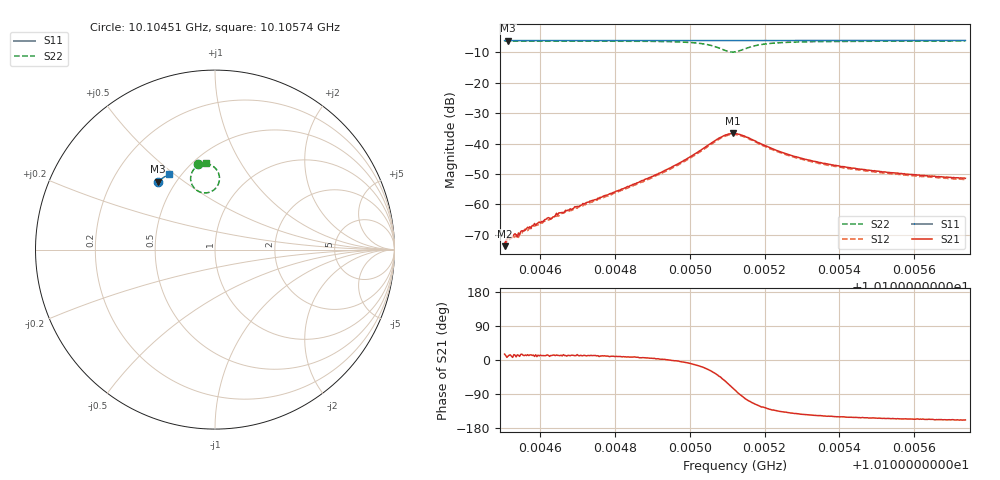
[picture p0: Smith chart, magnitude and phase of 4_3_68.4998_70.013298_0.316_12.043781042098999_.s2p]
#  HZ  S  RI  R  50.00
! Rohde & Schwarz Vector Network Analyzer
! Rohde-Schwarz,ZNB20-2Port,1311601062101988,3.16
! Created: UTC 3/20/2024, 4:48:45 PM
! freq[Hz]  re:S11  im:S11  re:S21  im:S21  re:S12  im:S12  re:S22  im:S22
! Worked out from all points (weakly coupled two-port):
!   401 points, 10.10451 GHz to 10.10574 GHz, reference 50 ohm
!   highest |S21| = -36.68 dB at 10.10511 GHz (marker M1); lowest = -73.7 dB at 10.10451 GHz (marker M2)
!   lowest |S11| = -6.1 dB at 10.10451 GHz (marker M3), VSWR 2.94, Z = 20.2 + j20.2 ohm
!   |S11| at or under -10 dB: nowhere
!   |S22| runs from -9.9 to -6.3 dB; largest |S21 - S12| = 0.0016
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1.0104505e10  -0.3165 0.3778  0.000198 5.48e-05  0.000231 6.76e-05  -0.0971 0.4755
1.0104515e10  -0.3159 0.378  0.000279 5.08e-05  0.000239 5.59e-05  -0.0962 0.4755
1.0104542e10  -0.3147 0.3792  0.000331 7.41e-05  0.000277 7.42e-05  -0.0936 0.476
1.0104558e10  -0.3139 0.3799  0.000359 7.25e-05  0.000359 0.000113  -0.0923 0.4764
1.0104619e10  -0.311 0.3823  0.000576 0.00014  0.000515 0.000185  -0.0861 0.4774
1.0104635e10  -0.3106 0.3831  0.000609 0.000139  0.000592 0.000201  -0.0846 0.4778
1.010465e10  -0.3097 0.3835  0.000709 0.000151  0.000614 0.000198  -0.0828 0.478
1.0104712e10  -0.3069 0.3862  0.000961 0.000191  0.000915 0.000279  -0.0756 0.4788
1.0104807e10  -0.3023 0.39  0.00164 0.000266  0.00153 0.000408  -0.0619 0.4793
1.0104918e10  -0.2972 0.3944  0.00326 0.000152  0.00305 0.000467  -0.0376 0.4762
1.0104995e10  -0.2933 0.3972  0.00569 -0.000748  0.00546 -0.000232  -0.00749 0.4619
1.0105066e10  -0.2895 0.3995  0.00913 -0.00616  0.00932 -0.00494  0.0252 0.3959
1.010509e10  -0.2885 0.4  0.00828 -0.0105  0.00909 -0.00931  0.00904 0.3481
1.0105115e10  -0.2874 0.4006  0.00407 -0.0141  0.00526 -0.0131  -0.0448 0.3165
1.0105121e10  -0.2873 0.4008  0.00275 -0.0144  0.00397 -0.0135  -0.0611 0.316
1.0105155e10  -0.2862 0.4021  -0.00347 -0.0121  -0.0023 -0.012  -0.1241 0.3545
1.0105201e10  -0.2842 0.4042  -0.00543 -0.00757  -0.00464 -0.0077  -0.1343 0.412
1.010525e10  -0.2818 0.4063  -0.00516 -0.00478  -0.00454 -0.00504  -0.1216 0.442
1.0105327e10  -0.278 0.4091  -0.00428 -0.00294  -0.00387 -0.00316  -0.1029 0.4618
1.0105426e10  -0.2732 0.4128  -0.00352 -0.00194  -0.00321 -0.00215  -0.0858 0.4721
1.0105534e10  -0.2678 0.4166  -0.00302 -0.00144  -0.00276 -0.00162  -0.0723 0.4776
1.0105737e10  -0.2575 0.4237  -0.00249 -0.000998  -0.00231 -0.00115  -0.0526 0.4828
